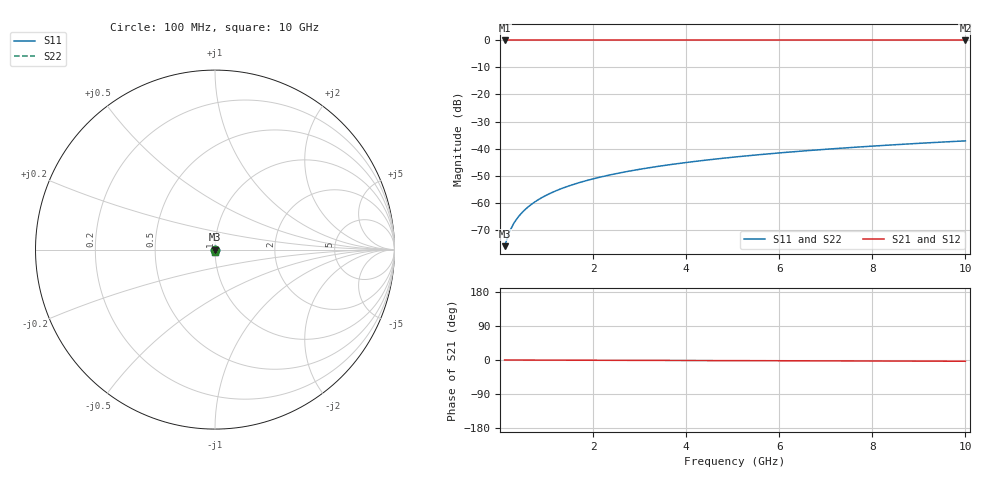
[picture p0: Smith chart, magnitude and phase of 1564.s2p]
# Hz S RI R 50.00
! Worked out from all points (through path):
!   100 points, 100 MHz to 10 GHz, reference 50 ohm
!   highest |S21| = 0.00 dB at 100 MHz (marker M1); lowest = 0.0 dB at 10 GHz (marker M2)
!   lowest |S11| = -76.1 dB at 100 MHz (marker M3), VSWR 1.00, Z = 50 - j0.0137 ohm
!   |S11| at or under -10 dB: start of sweep to end of sweep
!   |S22| runs from -76.1 to -37.2 dB; largest |S21 - S12| = 0
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1e8  7.47e-05 -0.000137  0.9999 -0.000568  0.9999 -0.000568  7.47e-05 -0.000137
2e8  7.46e-05 -0.000274  0.9999 -0.00114  0.9999 -0.00114  7.46e-05 -0.000274
3e8  7.42e-05 -0.000411  0.9999 -0.00171  0.9999 -0.00171  7.42e-05 -0.000411
4e8  7.37e-05 -0.000548  0.9999 -0.00227  0.9999 -0.00227  7.37e-05 -0.000548
5e8  7.29e-05 -0.000685  0.9999 -0.00284  0.9999 -0.00284  7.29e-05 -0.000685
6e8  7.2e-05 -0.000822  0.9999 -0.00341  0.9999 -0.00341  7.2e-05 -0.000822
7e8  7.08e-05 -0.000959  0.9999 -0.00398  0.9999 -0.00398  7.08e-05 -0.000959
8e8  6.95e-05 -0.0011  0.9999 -0.00455  0.9999 -0.00455  6.95e-05 -0.0011
9e8  6.81e-05 -0.00123  0.9999 -0.00512  0.9999 -0.00512  6.81e-05 -0.00123
1.1e9  6.46e-05 -0.00151  0.9999 -0.00625  0.9999 -0.00625  6.46e-05 -0.00151
1.4e9  5.82e-05 -0.00192  0.9999 -0.00796  0.9999 -0.00796  5.82e-05 -0.00192
1.8e9  4.74e-05 -0.00247  0.9999 -0.0102  0.9999 -0.0102  4.74e-05 -0.00247
2.1e9  3.76e-05 -0.00288  0.9998 -0.012  0.9998 -0.012  3.76e-05 -0.00288
2.5e9  2.24e-05 -0.00343  0.9998 -0.0142  0.9998 -0.0142  2.24e-05 -0.00343
2.9e9  4.51e-06 -0.00399  0.9998 -0.0165  0.9998 -0.0165  4.51e-06 -0.00399
3.4e9  -2.14e-05 -0.00468  0.9997 -0.0194  0.9997 -0.0194  -2.14e-05 -0.00468
4.2e9  -7.12e-05 -0.00579  0.9996 -0.024  0.9996 -0.024  -7.12e-05 -0.00579
5.1e9  -0.00014 -0.00703  0.9995 -0.0291  0.9995 -0.0291  -0.00014 -0.00703
5.9e9  -0.000211 -0.00815  0.9993 -0.0337  0.9993 -0.0337  -0.000211 -0.00815
6.7e9  -0.000294 -0.00926  0.9991 -0.0383  0.9991 -0.0383  -0.000294 -0.00926
8.4e9  -0.000503 -0.0116  0.9987 -0.0482  0.9987 -0.0482  -0.000503 -0.0116
1e10  -0.000742 -0.0138  0.9981 -0.0574  0.9981 -0.0574  -0.000742 -0.0138
